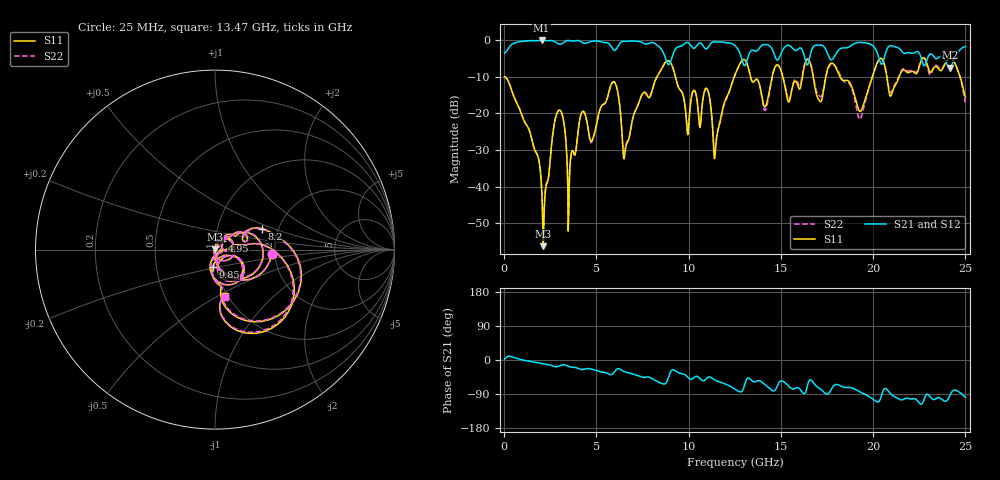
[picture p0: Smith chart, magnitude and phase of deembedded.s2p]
! R_s4_rect_n0: 3D, de-embedded (matched 2x-thru)
# Hz S RI R 50
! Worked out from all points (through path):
!   1000 points, 25 MHz to 25 GHz, reference 50 ohm
!   highest |S21| = -0.13 dB at 2.025 GHz (marker M1); lowest = -7.6 dB at 24.15 GHz (marker M2)
!   group delay of S21, straight-line fit = 11.6 ps
!   lowest |S11| = -56.2 dB at 2.125 GHz (marker M3), VSWR 1.00, Z = 49.9 + j0.131 ohm
!   |S11| at or under -10 dB: 28.21 MHz to 8.288 GHz (8.26 GHz wide, 199 % of centre); 9.282 GHz to 12.47 GHz (3.19 GHz wide, 29.3 % of centre); 18.2 GHz to 19.96 GHz (1.758 GHz wide, 9.21 % of centre) (the widest 3 of 8)
!   |S22| runs from -54.7 to -4.9 dB; largest |S21 - S12| = 1.4e-06
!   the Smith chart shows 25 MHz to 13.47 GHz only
!   S11 on the Smith chart (normalised r, x): 25 MHz: 1.92, -0.09; 4.95 GHz: 1.07, +0.10; 8.2 GHz: 1.64, +0.42; 9.85 GHz: 0.96, -0.19; 13.47 GHz: 0.97, -0.54
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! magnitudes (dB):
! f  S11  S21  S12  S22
! 25 MHz  -10.0  -3.5  -3.5  -10.0
! 2.025 GHz  -40.1  -0.1  -0.1  -39.8
! 2.125 GHz  -56.2  -0.2  -0.2  -54.7
! 2.875 GHz  -19.8  -0.9  -0.9  -19.8
! 3.525 GHz  -39.7  -0.2  -0.2  -40.5
! 4.2 GHz  -19.8  -0.6  -0.6  -19.9
! 4.95 GHz  -24.3  -0.3  -0.3  -24.4
! 5.95 GHz  -11.4  -2.8  -2.8  -11.4
! 6.575 GHz  -29.7  -0.4  -0.4  -29.1
! 8.2 GHz  -10.9  -1.1  -1.1  -10.9
! 8.35 GHz  -9.5  -1.6  -1.6  -9.5
! 9.85 GHz  -20.2  -0.7  -0.7  -19.9
! 10.97 GHz  -13.2  -2.4  -2.4  -13.2
! 11.45 GHz  -30.2  -0.5  -0.5  -29.0
! 12.53 GHz  -9.3  -1.6  -1.6  -9.4
! 13.47 GHz  -11.5  -2.8  -2.8  -11.5
! 16.68 GHz  -7.9  -2.6  -2.6  -7.8
! 19.27 GHz  -19.5  -0.7  -0.7  -21.6
! 20.35 GHz  -5.1  -5.5  -5.5  -5.3
! 20.85 GHz  -13.8  -1.7  -1.7  -13.0
! 24.15 GHz  -4.9  -7.6  -7.6  -5.1
! 25 GHz  -15.6  -1.8  -1.8  -17.0
